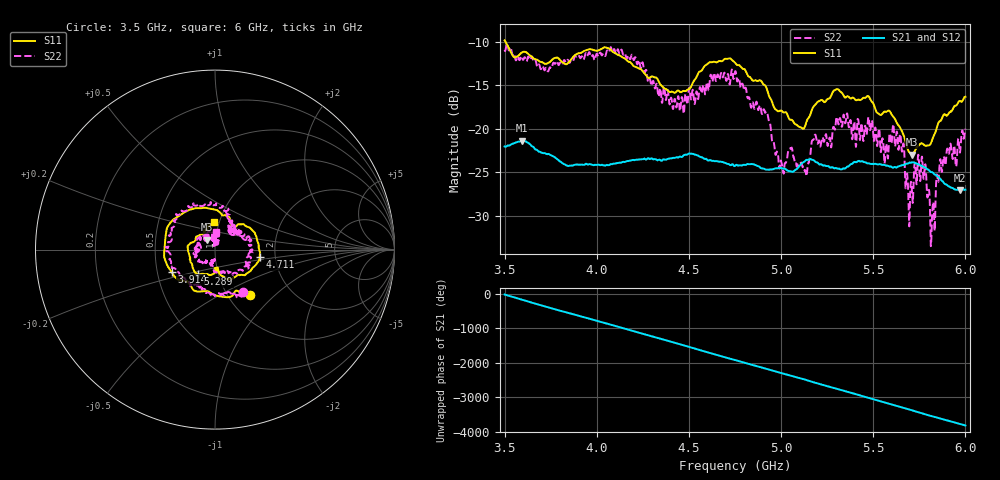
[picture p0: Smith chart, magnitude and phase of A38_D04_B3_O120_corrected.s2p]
! Created with skrf 1.9.0 (http://scikit-rf.org).
# Hz S RI R 50.0
!freq ReS11 ImS11 ReS21 ImS21 ReS12 ImS12 ReS22 ImS22
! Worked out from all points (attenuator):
!   1601 points, 3.5 GHz to 6 GHz, reference 50 ohm
!   highest |S21| = -21.37 dB at 3.594 GHz (marker M1); lowest = -27.0 dB at 5.972 GHz (marker M2)
!   lowest |S11| = -23.0 dB at 5.711 GHz (marker M3), VSWR 1.15, Z = 45.6 + j5.15 ohm
!   |S11| at or under -10 dB: 3.504 GHz to end of sweep
!   |S22| runs from -33.5 to -10.3 dB; largest |S21 - S12| = 0.001
!   S11 on the Smith chart (normalised r, x): 3.5 GHz: 1.26, -0.71; 3.914 GHz: 0.59, -0.16; 4.711 GHz: 1.65, -0.14; 5.289 GHz: 0.80, -0.23; 6 GHz: 0.95, +0.30
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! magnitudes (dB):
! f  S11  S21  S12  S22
! 3.5 GHz  -9.9  -22.0  -22.0  -11.0
! 3.594 GHz  -11.3  -21.4  -21.4  -11.8
! 3.914 GHz  -11.3  -24.1  -24.1  -11.8
! 3.917 GHz  -11.3  -24.1  -24.1  -11.7
! 4.125 GHz  -11.6  -23.9  -23.9  -11.4
! 4.334 GHz  -14.5  -23.6  -23.5  -16.3
! 4.711 GHz  -12.0  -24.0  -24.0  -13.7
! 4.75 GHz  -12.4  -24.3  -24.2  -13.5
! 4.919 GHz  -15.2  -24.7  -24.6  -18.0
! 5.002 GHz  -17.9  -24.5  -24.5  -23.9
! 5.136 GHz  -19.3  -23.6  -23.5  -25.2
! 5.167 GHz  -17.8  -23.6  -23.5  -21.4
! 5.289 GHz  -15.6  -24.6  -24.5  -20.0
! 5.584 GHz  -17.9  -24.3  -24.2  -21.8
! 5.655 GHz  -20.2  -24.2  -24.1  -22.5
! 5.686 GHz  -22.3  -24.0  -24.0  -25.6
! 5.711 GHz  -23.0  -23.8  -23.8  -27.6
! 5.773 GHz  -21.8  -24.4  -24.3  -25.8
! 5.822 GHz  -21.2  -25.0  -24.9  -29.0
! 5.855 GHz  -19.3  -25.6  -25.5  -25.9
! 5.972 GHz  -16.8  -27.0  -27.0  -22.6
! 6 GHz  -16.3  -27.0  -26.9  -20.0
